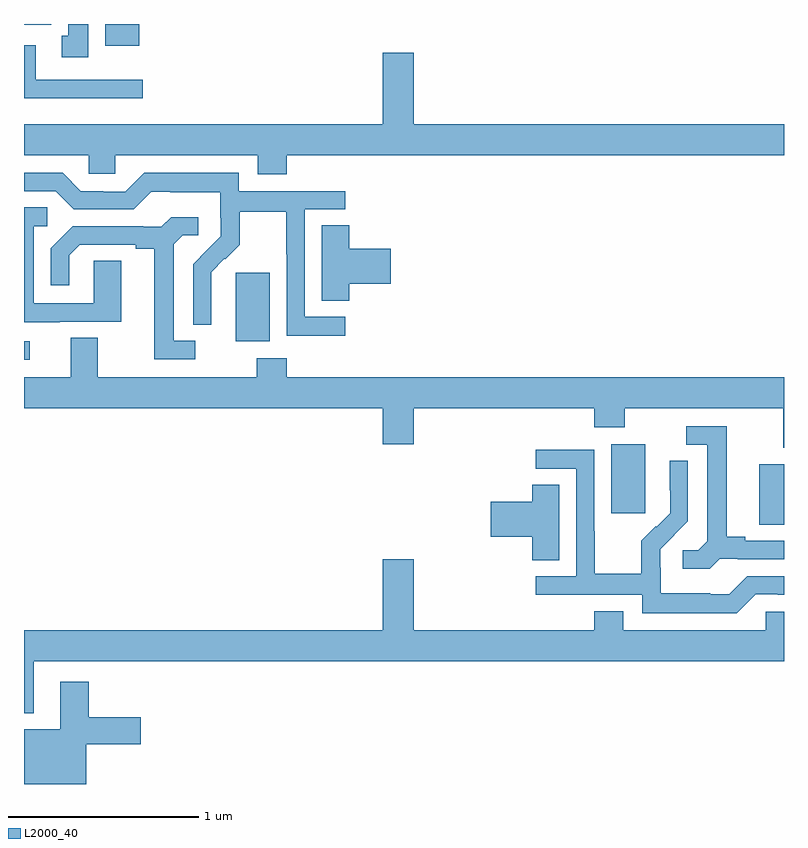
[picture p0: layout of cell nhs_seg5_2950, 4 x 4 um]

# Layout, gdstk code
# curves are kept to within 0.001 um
import gdstk
lib = gdstk.Library(unit=1e-6, precision=1e-09)
def R(c, l, rs):  # rectangles x0, y0, x1, y1
    for r in rs: c.add(gdstk.rectangle(r[:2], r[2:], *l))
def P(c, l, *ps):  # polygons
    for p in ps: c.add(gdstk.Polygon(p, *l))
L2000_40 = (2000, 40)

nhs_seg5_2950 = lib.new_cell('nhs_seg5_2950')
R(nhs_seg5_2950, L2000_40, [(286.871,840.163,287,840.483), (286.091,840.225,286.27,840.586), (283,841.032,283.03,841.128), (284.114,841.13,284.293,841.491), (283.427,842.684,283.606,842.799), (283,842.796,283.143,842.799)])
P(nhs_seg5_2950, L2000_40, [(283.339,842.799),(283.232,842.799),(283.232,842.737),(283.199,842.737),(283.199,842.625),(283.339,842.625)],
  [(283.624,842.505),(283.063,842.505),(283.063,842.686),(283,842.686),(283,842.408),(283.624,842.408)],
  [(283,842.108),(283.341,842.108),(283.341,842.01),(283.479,842.01),(283.479,842.108),(284.231,842.108),(284.231,842.009),(284.384,842.009),(284.384,842.108),(287,842.108),(287,842.272),(285.052,842.272),(285.052,842.647),(284.888,842.647),(284.888,842.272),(283,842.272)],
  [(284.692,841.257),(284.478,841.257),(284.478,841.824),(284.692,841.824),(284.692,841.92),(284.13,841.92),(284.13,842.017),(283.633,842.017),(283.533,841.917),(283.418,841.917),(283.418,841.92),(283.299,841.92),(283.203,842.016),(283,842.016),(283,841.92),(283.167,841.92),(283.263,841.824),(283.578,841.824),(283.671,841.917),(283.771,841.917),(283.771,841.913),(284.034,841.913),(284.034,841.779),(284.036,841.779),(284.036,841.682),(283.89,841.534),(283.89,841.216),(283.986,841.216),(283.985,841.493),(284.055,841.563),(284.058,841.56),(284.135,841.637),(284.135,841.812),(284.38,841.812),(284.38,841.588),(284.382,841.588),(284.382,841.159),(284.692,841.159)],
  [(283.189,841.233),(283.513,841.233),(283.513,841.553),(283.368,841.553),(283.368,841.329),(283.05,841.329),(283.05,841.734),(283.123,841.734),(283.123,841.835),(283,841.835),(283,841.229),(283.189,841.229)],
  [(283.9,841.131),(283.789,841.131),(283.789,841.639),(283.836,841.686),(283.918,841.686),(283.918,841.783),(283.774,841.783),(283.722,841.731),(283.628,841.731),(283.628,841.734),(283.256,841.734),(283.14,841.618),(283.14,841.425),(283.237,841.425),(283.237,841.581),(283.294,841.638),(283.589,841.638),(283.589,841.616),(283.685,841.616),(283.685,841.035),(283.9,841.035)],
  [(284.711,841.433),(284.929,841.433),(284.929,841.616),(284.711,841.616),(284.711,841.739),(284.567,841.739),(284.567,841.342),(284.711,841.342)],
  [(284.384,841.039),(284.224,841.039),(284.224,840.94),(283.387,840.94),(283.387,841.148),(283.247,841.148),(283.247,840.94),(283,840.94),(283,840.776),(284.888,840.776),(284.888,840.588),(285.052,840.588),(285.052,840.776),(286.001,840.776),(286.001,840.677),(286.161,840.677),(286.161,840.776),(286.997,840.776),(286.997,840.568),(287,840.568),(287,840.94),(284.384,840.94)],
  [(286.662,839.985),(286.756,839.985),(286.756,839.982),(287,839.982),(287,840.078),(286.795,840.078),(286.795,840.101),(286.699,840.101),(286.699,840.681),(286.485,840.681),(286.485,840.585),(286.595,840.585),(286.595,840.077),(286.548,840.03),(286.467,840.03),(286.467,839.933),(286.61,839.933)],
  [(286.851,839.799),(286.967,839.799),(286.967,839.796),(287,839.796),(287,839.892),(286.806,839.892),(286.713,839.799),(286.613,839.799),(286.613,839.803),(286.35,839.803),(286.35,839.937),(286.348,839.937),(286.348,840.034),(286.494,840.182),(286.494,840.5),(286.398,840.5),(286.398,840.346),(286.4,840.346),(286.4,840.224),(286.329,840.153),(286.326,840.156),(286.249,840.079),(286.249,839.905),(286.005,839.905),(286.005,840.128),(286.002,840.128),(286.002,840.558),(285.693,840.558),(285.693,840.459),(285.906,840.459),(285.906,839.892),(285.693,839.892),(285.693,839.796),(286.254,839.796),(286.254,839.699),(286.751,839.699)],
  [(285.817,840.374),(285.674,840.374),(285.674,840.284),(285.456,840.284),(285.456,840.101),(285.674,840.101),(285.674,839.977),(285.817,839.977)],
  [(283.051,839.444),(287,839.444),(287,839.706),(286.905,839.706),(286.905,839.608),(286.153,839.608),(286.153,839.707),(286.001,839.707),(286.001,839.608),(285.052,839.608),(285.052,839.983),(284.888,839.983),(284.888,839.608),(283,839.608),(283,839.171),(283.051,839.171)],
  [(283.327,839.009),(283.615,839.009),(283.615,839.151),(283.34,839.151),(283.34,839.338),(283.19,839.338),(283.19,839.086),(283,839.086),(283,838.799),(283.327,838.799)])

lib.write_gds('nhs_seg5_2950.gds')
